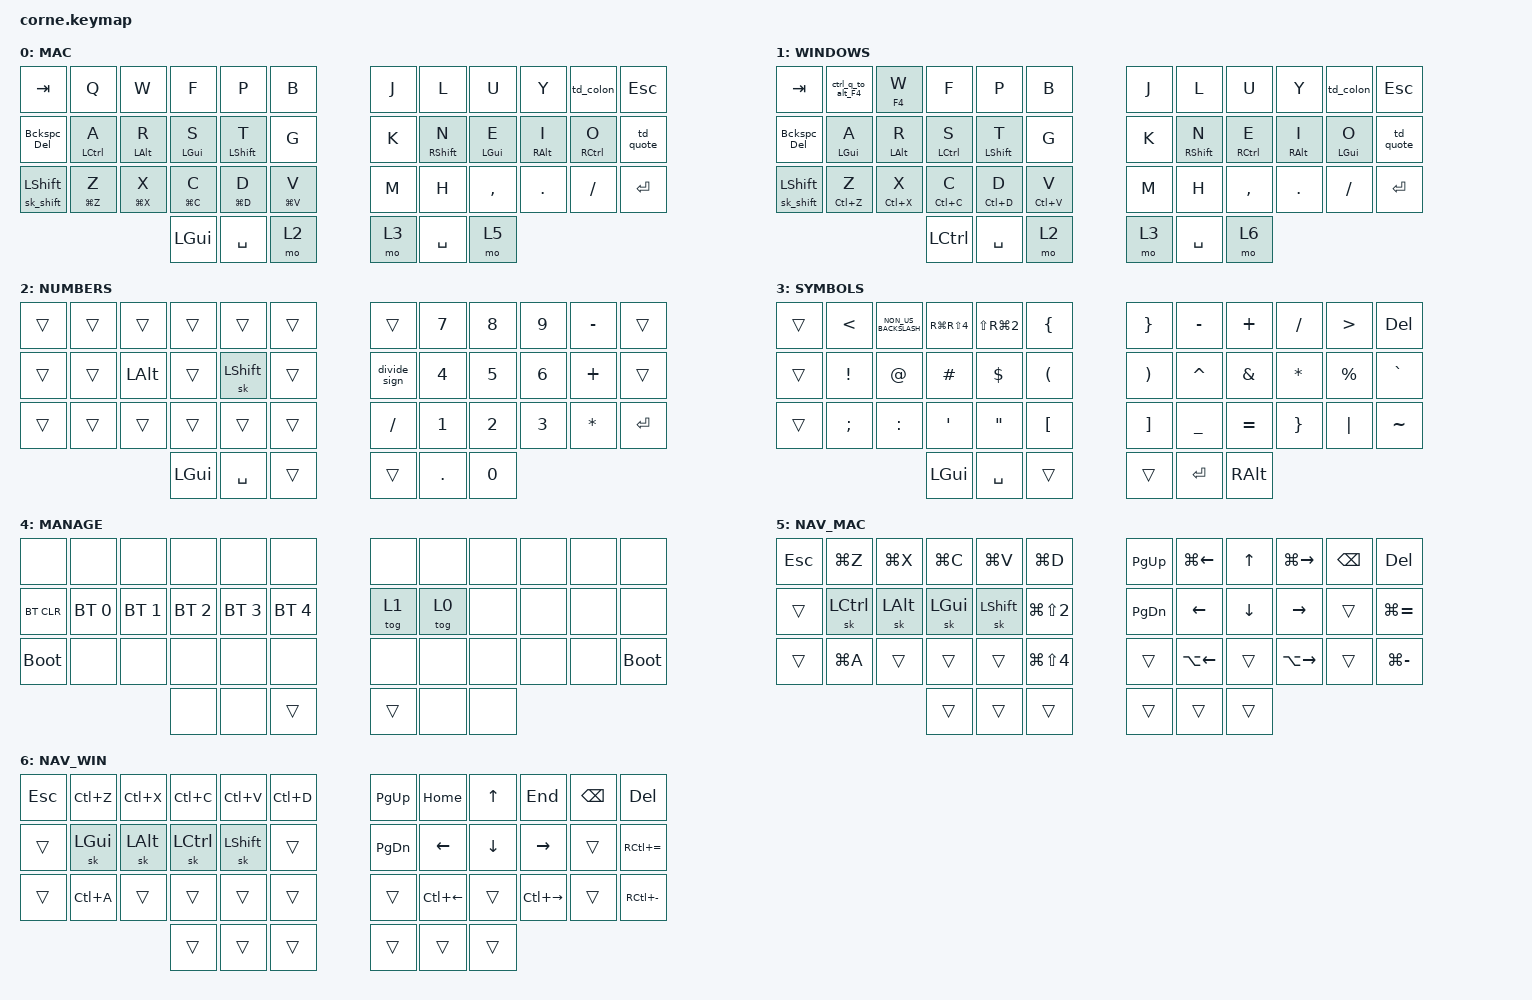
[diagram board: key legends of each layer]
/*
 * Copyright (c) 2020 The ZMK Contributors
 *
 * SPDX-License-Identifier: MIT
 */

#include <behaviors.dtsi>
#include <dt-bindings/zmk/bt.h>
#include <dt-bindings/zmk/keys.h>

#define MAC 0
#define WINDOWS 1
#define NAVIGATE 2
#define NUMBERS 4
#define SYMBOLS 3
#define MANAGE 5
#define NAV_MAC 7
#define NAV_WIN 8
#define MAC_WORD_DEL &kp LA(BSPC)  // Option (LA = Left Alt) + Backspace
#define WIN_WORD_DEL &kp LC(BSPC)  // Control (LC = Left Ctrl) + Backspace

/ {
    conditional_layers {
        compatible = "zmk,conditional-layers";

        tri_layer {
            if-layers = <2 3>; // FIXED: Updated from <NUM SYM>
            then-layer = <4>;
        };
    };

    behaviors {
        HMR: HMR {
            compatible = "zmk,behavior-hold-tap";
            label = "HMR";
            bindings = <&kp>, <&kp>;

            #binding-cells = <2>;
            tapping-term-ms = <280>;
            quick-tap-ms = <175>;
            flavor = "tap-preferred";
            hold-trigger-key-positions = <0 1 2 3 4 5 12 13 14 15 16 17 24 25 26 27 28 29 36 37 38 39 40 41>;
            hold-trigger-on-release;
        };

        HML: HML {
            compatible = "zmk,behavior-hold-tap";
            label = "HML";
            bindings = <&kp>, <&kp>;

            #binding-cells = <2>;
            tapping-term-ms = <280>;
            quick-tap-ms = <175>;
            flavor = "tap-preferred";
            hold-trigger-on-release;
            hold-trigger-key-positions = <36 37 38 6 7 8 9 10 11 18 19 20 21 22 23 30 31 32 33 34 35 39 40 41>;
        };

        ht: hold_tap {
            compatible = "zmk,behavior-hold-tap";
            label = "HOLD_TAP";
            bindings = <&kp>, <&kp>;

            #binding-cells = <2>;
            tapping-term-ms = <200>;
            quick-tap-ms = <0>;
            flavor = "tap-preferred";
        };

        td_colon: td_colon {
            compatible = "zmk,behavior-tap-dance";
            label = "TD_COLON";
            #binding-cells = <0>;
            bindings = <&kp SEMICOLON>, <&kp COLON>;
        };

        sk_shift: sticky_key_shift {
            compatible = "zmk,behavior-sticky-key";
            label = "STICKY_KEY_SHIFT";
            #binding-cells = <1>;
            bindings = <&kp>;
            release-after-ms = <1500>;
            quick-release;
            ignore-modifiers;
        };

        Bckspc_Del: Bckspc_Del {
            compatible = "zmk,behavior-mod-morph";
            label = "BCKSPC_DEL";
            bindings = <&kp BACKSPACE>, <&kp DELETE>;

            #binding-cells = <0>;
            mods = <(MOD_LSFT|MOD_RSFT)>;
        };

        td_quote: td_quote {
            compatible = "zmk,behavior-tap-dance";
            label = "TD_QUOTE";
            #binding-cells = <0>;
            bindings = <&kp SQT>, <&kp LS(SQT)>;
        };

        ctrl_q_to_alt_F4: ctrl_q_to_alt_F4 {
            compatible = "zmk,behavior-mod-morph";
            label = "CTRL_Q_TO_ALT_F4";
            bindings = <&kp Q>, <&kp LA(F4)>;

            #binding-cells = <0>;
            mods = <(MOD_LCTL|MOD_RCTL)>;
        };
    };

    macros {
        divide_sign: divide_sign {
            compatible = "zmk,behavior-macro";
            #binding-cells = <0>;
            bindings =
                <&macro_press>,
                <&kp LALT &kp N0 &kp N2 &kp N4 &kp N7>,
                <&macro_release>,
                <&kp LALT>;

            label = "divide_sign";
        };
    };

    combos {
        compatible = "zmk,combos";

        esc_combo {
            bindings = <&kp ESCAPE>;
            key-positions = <24 25>;
        };

        word_delete_mac {
            bindings = <&kp LA(BACKSPACE)>;
            key-positions = <12 13>;
            layers = <0>;
        };

        word_caps {
            bindings = <&caps_word>;
            key-positions = <16 19>;
        };

        word_delete_win {
            bindings = <&kp LC(BACKSPACE)>;
            key-positions = <12 13>;
            layers = <1>;
        };

        mac_word_jump_left {
            bindings = <&kp LA(LEFT)>;
            key-positions = <19 20>;
            layers = <0>;
        };

        mac_word_jump_right {
            bindings = <&kp LA(RIGHT)>;
            key-positions = <21 22>;
            layers = <0>;
        };

        Forward_Delete {
            bindings = <&kp DELETE>;
            key-positions = <12 13 14>;
            layers = <0 1>;
        };

        win_word_jump_left {
            bindings = <&kp LC(LEFT)>;
            key-positions = <19 20>;
            layers = <1>;
        };

        win_word_jump_right {
            bindings = <&kp LC(RIGHT)>;
            key-positions = <21 22>;
            layers = <1>;
        };

        F2_rename {
            bindings = <&kp F2>;
            key-positions = <0 11>;
            layers = <1>;
        };

        emoji_win {
            bindings = <&kp LG(PERIOD)>;
            key-positions = <4 5 6 7>;
            layers = <1>;
        };

        emoji_mac {
            bindings = <&kp LG(LC(SPACE))>;
            key-positions = <4 5 6 7>;
            layers = <0>;
        };
    };

    keymap {
        compatible = "zmk,keymap";

        mac {
            display-name = "MAC";
            bindings = <
&kp TAB               &kp Q                &kp W            &kp F            &kp P              &kp B          &kp J  &kp L               &kp U            &kp Y             &td_colon             &kp ESCAPE
&Bckspc_Del           &HML LEFT_CONTROL A  &HML LEFT_ALT R  &HML LEFT_GUI S  &HML LEFT_SHIFT T  &kp G          &kp K  &HMR RIGHT_SHIFT N  &HMR LEFT_GUI E  &HMR RIGHT_ALT I  &HMR RIGHT_CONTROL O  &td_quote
&sk_shift LEFT_SHIFT  &ht LG(Z) Z          &ht LG(X) X      &ht LG(C) C      &ht LG(D) D        &ht LG(V) V    &kp M  &kp H               &kp COMMA        &kp DOT           &kp FSLH              &kp RET
                                                            &kp LGUI         &kp SPACE          &mo 2          &mo 3  &kp SPACE           &mo 5
            >;

            // FIXED: Changed &mo NAV to &mo NAVIGATE
        };

        windows {
            display-name = "WINDOWS";
            bindings = <
&kp TAB               &ctrl_q_to_alt_F4  &ht F4 W         &kp F                &kp P              &kp B          &kp J  &kp L               &kp U                 &kp Y             &td_colon        &kp ESC
&Bckspc_Del           &HML LEFT_GUI A    &HML LEFT_ALT R  &HML LEFT_CONTROL S  &HML LEFT_SHIFT T  &kp G          &kp K  &HMR RIGHT_SHIFT N  &HMR RIGHT_CONTROL E  &HMR RIGHT_ALT I  &HMR LEFT_GUI O  &td_quote
&sk_shift LEFT_SHIFT  &ht LC(Z) Z        &ht LC(X) X      &ht LC(C) C          &ht LC(D) D        &ht LC(V) V    &kp M  &kp H               &kp COMMA             &kp DOT           &kp FSLH         &kp RET
                                                          &kp LCTRL            &kp SPACE          &mo 2          &mo 3  &kp SPACE           &mo 6
            >;

            // FIXED: Changed &mo NAV to &mo NAVIGATE
        };

        numbers {
            display-name = "NUMBERS";
            bindings = <
&trans  &trans  &trans    &trans    &trans          &trans    &trans        &kp N7   &kp N8  &kp N9  &kp MINUS     &trans
&trans  &trans  &kp LALT  &trans    &sk LEFT_SHIFT  &trans    &divide_sign  &kp N4   &kp N5  &kp N6  &kp PLUS      &trans
&trans  &trans  &trans    &trans    &trans          &trans    &kp SLASH     &kp N1   &kp N2  &kp N3  &kp ASTERISK  &kp ENTER
                          &kp LGUI  &kp SPACE       &trans    &trans        &kp DOT  &kp N0
            >;
        };

        symbols {
            display-name = "SYMBOLS";
            bindings = <
&trans  &kp LESS_THAN  &kp NON_US_BACKSLASH  &kp RG(RS(N4))  &kp LS(RG(N2))     &kp LEFT_BRACE          &kp RIGHT_BRACE        &kp MINUS       &kp PLUS       &kp SLASH     &kp GREATER_THAN  &kp DELETE
&trans  &kp EXCL       &kp AT                &kp HASH        &kp DLLR           &kp LEFT_PARENTHESIS    &kp RIGHT_PARENTHESIS  &kp CARET       &kp AMPERSAND  &kp ASTERISK  &kp PERCENT       &kp GRAVE
&trans  &kp SEMI       &kp COLON             &kp SQT         &kp DOUBLE_QUOTES  &kp LBKT                &kp RIGHT_BRACKET      &kp UNDERSCORE  &kp EQUAL      &kp RBRC      &kp PIPE          &kp TILDE
                                             &kp LGUI        &kp SPACE          &trans                  &trans                 &kp ENTER       &kp RALT
            >;
        };

        manage {
            display-name = "MANAGE";
            bindings = <
&none        &none         &none         &none         &none         &none           &none   &none   &none  &none  &none  &none
&bt BT_CLR   &bt BT_SEL 0  &bt BT_SEL 1  &bt BT_SEL 2  &bt BT_SEL 3  &bt BT_SEL 4    &tog 1  &tog 0  &none  &none  &none  &none
&bootloader  &none         &none         &none         &none         &none           &none   &none   &none  &none  &none  &bootloader
                                         &none         &none         &trans          &trans  &none   &none
            >;

            // FIXED: Changed &tog WIN to &tog WINDOWS
        };

        NAV_MAC {
            display-name = "NAV_MAC";
            bindings = <
&kp ESCAPE  &kp LG(Z)         &kp LG(X)     &kp LG(C)     &kp LG(V)       &kp LG(D)               &kp PAGE_UP    &kp LG(LEFT)  &kp UP_ARROW  &kp LG(RIGHT)  &kp BACKSPACE  &kp DEL
&trans      &sk LEFT_CONTROL  &sk LEFT_ALT  &sk LEFT_GUI  &sk LEFT_SHIFT  &kp LG(LS(NUMBER_2))    &kp PAGE_DOWN  &kp LEFT      &kp DOWN      &kp RIGHT      &trans         &kp LG(EQUAL)
&trans      &kp LG(A)         &trans        &trans        &trans          &kp LG(LS(NUMBER_4))    &trans         &kp LA(LEFT)  &trans        &kp LA(RIGHT)  &trans         &kp LG(MINUS)
                                            &trans        &trans          &trans                  &trans         &trans        &trans
            >;
        };

        NAV_WIN {
            display-name = "NAV_WIN";
            bindings = <
&kp ESCAPE  &kp LC(Z)     &kp LC(X)     &kp LC(C)         &kp LC(V)       &kp LC(D)    &kp PAGE_UP    &kp HOME      &kp UP_ARROW  &kp END        &kp BACKSPACE  &kp DEL
&trans      &sk LEFT_GUI  &sk LEFT_ALT  &sk LEFT_CONTROL  &sk LEFT_SHIFT  &trans       &kp PAGE_DOWN  &kp LEFT      &kp DOWN      &kp RIGHT      &trans         &kp RC(EQUAL)
&trans      &kp LC(A)     &trans        &trans            &trans          &trans       &trans         &kp LC(LEFT)  &trans        &kp LC(RIGHT)  &trans         &kp RC(MINUS)
                                        &trans            &trans          &trans       &trans         &trans        &trans
            >;
        };
    };
};
